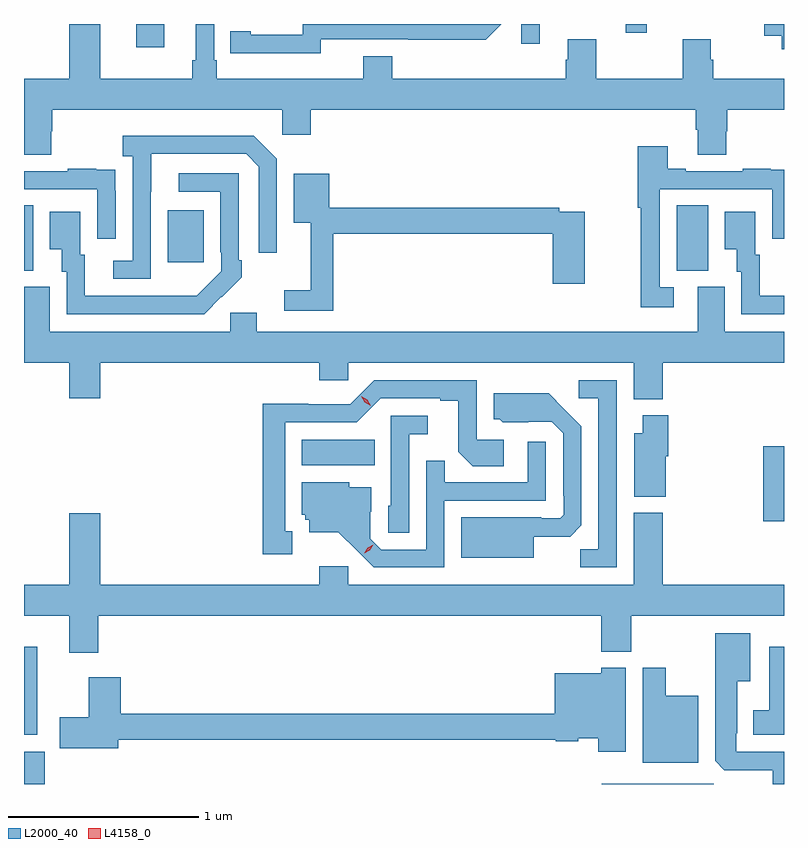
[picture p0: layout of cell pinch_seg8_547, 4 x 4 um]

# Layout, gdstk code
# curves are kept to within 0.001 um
import gdstk
lib = gdstk.Library(unit=1e-6, precision=1e-09)
def R(c, l, rs):  # rectangles x0, y0, x1, y1
    for r in rs: c.add(gdstk.rectangle(r[:2], r[2:], *l))
def P(c, l, *ps):  # polygons
    for p in ps: c.add(gdstk.Polygon(p, *l))
L2000_40 = (2000, 40)
L4158_0 = (4158, 0)

pinch_seg8_547 = lib.new_cell('pinch_seg8_547')
R(pinch_seg8_547, L2000_40, [(140.794,1120.943,140.902,1121.113), (140.794,1121.201,140.863,1121.665), (144.686,1122.327,144.794,1122.721), (142.256,1122.62,142.64,1122.754), (140.794,1123.645,140.842,1123.988), (144.23,1123.645,144.394,1123.988), (141.551,1123.689,141.739,1123.963), (141.386,1124.82,141.532,1124.943), (143.412,1124.838,143.509,1124.943), (143.96,1124.898,144.071,1124.943)])
P(pinch_seg8_547, L2000_40, [(140.937,1124.379),(140.942,1124.379),(140.942,1124.492),(142.152,1124.492),(142.152,1124.361),(142.304,1124.361),(142.304,1124.492),(144.329,1124.492),(144.329,1124.386),(144.341,1124.386),(144.341,1124.254),(144.489,1124.254),(144.489,1124.379),(144.494,1124.379),(144.494,1124.492),(144.794,1124.492),(144.794,1124.656),(144.422,1124.656),(144.422,1124.754),(144.409,1124.754),(144.409,1124.864),(144.262,1124.864),(144.262,1124.656),(143.805,1124.656),(143.805,1124.864),(143.657,1124.864),(143.657,1124.754),(143.645,1124.754),(143.645,1124.656),(142.733,1124.656),(142.733,1124.773),(142.58,1124.773),(142.58,1124.656),(141.809,1124.656),(141.809,1124.752),(141.795,1124.752),(141.795,1124.943),(141.698,1124.943),(141.698,1124.752),(141.679,1124.752),(141.679,1124.656),(141.196,1124.656),(141.196,1124.943),(141.032,1124.943),(141.032,1124.656),(140.794,1124.656),(140.794,1124.254),(140.937,1124.254)],
  [(142.356,1124.862),(143.224,1124.861),(143.307,1124.943),(142.26,1124.943),(142.26,1124.886),(141.988,1124.886),(141.988,1124.906),(141.88,1124.906),(141.88,1124.79),(142.356,1124.789)],
  [(144.794,1124.943),(144.69,1124.943),(144.69,1124.881),(144.783,1124.881),(144.783,1124.811),(144.794,1124.811)],
  [(141.462,1124.059),(141.463,1124.259),(141.963,1124.259),(142.029,1124.193),(142.029,1123.74),(142.125,1123.74),(142.125,1124.235),(142.004,1124.356),(141.315,1124.356),(141.315,1124.246),(141.366,1124.246),(141.366,1123.698),(141.264,1123.698),(141.264,1123.602),(141.462,1123.602)],
  [(144.214,1123.557),(144.141,1123.557),(144.141,1124.073),(144.732,1124.073),(144.732,1123.812),(144.794,1123.812),(144.794,1124.175),(144.725,1124.175),(144.725,1124.182),(144.577,1124.182),(144.577,1124.169),(144.277,1124.169),(144.277,1124.182),(144.181,1124.182),(144.181,1124.299),(144.025,1124.299),(144.025,1123.976),(144.04,1123.976),(144.04,1123.452),(144.214,1123.452)],
  [(141.276,1124.066),(141.275,1124.066),(141.275,1124.175),(141.173,1124.175),(141.173,1124.182),(141.025,1124.182),(141.025,1124.169),(140.794,1124.169),(140.794,1124.073),(141.18,1124.073),(141.18,1123.812),(141.276,1123.812)],
  [(141.833,1123.507),(141.834,1123.506),(141.939,1123.611),(141.939,1123.699),(141.924,1123.699),(141.924,1124.157),(141.609,1124.157),(141.609,1124.061),(141.828,1124.061),(141.828,1123.741),(141.831,1123.741),(141.831,1123.641),(141.703,1123.513),(141.115,1123.512),(141.115,1123.728),(141.091,1123.728),(141.091,1123.954),(140.93,1123.954),(140.93,1123.757),(140.993,1123.757),(140.993,1123.638),(141.018,1123.638),(141.018,1123.416),(141.742,1123.416)],
  [(142.421,1123.84),(143.576,1123.84),(143.576,1123.575),(143.746,1123.575),(143.746,1123.956),(143.612,1123.956),(143.612,1123.976),(142.401,1123.976),(142.401,1124.155),(142.214,1124.155),(142.214,1123.898),(142.304,1123.898),(142.304,1123.543),(142.164,1123.543),(142.164,1123.434),(142.421,1123.434)],
  [(144.794,1123.512),(144.667,1123.512),(144.667,1123.728),(144.643,1123.728),(144.643,1123.954),(144.482,1123.954),(144.482,1123.757),(144.545,1123.757),(144.545,1123.638),(144.57,1123.638),(144.57,1123.416),(144.794,1123.416)],
  [(144.155,1123.16),(144.794,1123.16),(144.794,1123.324),(144.481,1123.324),(144.481,1123.56),(144.341,1123.56),(144.341,1123.324),(142.018,1123.324),(142.018,1123.422),(141.879,1123.422),(141.879,1123.324),(140.929,1123.324),(140.929,1123.56),(140.794,1123.56),(140.794,1123.16),(141.032,1123.16),(141.032,1122.972),(141.196,1122.972),(141.196,1123.16),(142.349,1123.16),(142.349,1123.067),(142.5,1123.067),(142.5,1123.16),(144.002,1123.16),(144.002,1122.968),(144.155,1122.968)],
  [(143.913,1123.068),(143.715,1123.068),(143.715,1122.972),(143.817,1122.972),(143.817,1122.179),(143.722,1122.179),(143.722,1122.084),(143.913,1122.084)],
  [(142.207,1122.273),(142.168,1122.273),(142.168,1122.846),(142.545,1122.846),(142.671,1122.972),(142.985,1122.972),(142.985,1122.96),(143.079,1122.96),(143.079,1122.692),(143.155,1122.616),(143.32,1122.616),(143.32,1122.756),(143.178,1122.756),(143.178,1123.068),(142.638,1123.068),(142.512,1122.942),(142.29,1122.942),(142.29,1122.944),(142.05,1122.944),(142.05,1122.153),(142.207,1122.153)],
  [(143.476,1122.245),(143.668,1122.245),(143.727,1122.304),(143.727,1122.826),(143.555,1123),(143.267,1123),(143.267,1122.864),(143.298,1122.864),(143.314,1122.848),(143.571,1122.849),(143.631,1122.789),(143.631,1122.46),(143.634,1122.46),(143.634,1122.36),(143.616,1122.342),(143.516,1122.342),(143.516,1122.346),(143.096,1122.346),(143.096,1122.134),(143.476,1122.134)],
  [(144.172,1122.669),(144.185,1122.669),(144.185,1122.883),(144.05,1122.883),(144.05,1122.79),(144.005,1122.79),(144.005,1122.455),(144.172,1122.455)],
  [(142.821,1122.785),(142.918,1122.785),(142.918,1122.882),(142.725,1122.882),(142.725,1122.408),(142.71,1122.408),(142.71,1122.265),(142.821,1122.265)],
  [(143.007,1122.435),(143.541,1122.435),(143.541,1122.745),(143.445,1122.745),(143.445,1122.531),(143.009,1122.531),(143.009,1122.644),(142.911,1122.644),(142.911,1122.177),(142.674,1122.177),(142.617,1122.234),(142.617,1122.376),(142.621,1122.376),(142.621,1122.505),(142.506,1122.505),(142.506,1122.532),(142.256,1122.532),(142.256,1122.36),(142.275,1122.36),(142.275,1122.333),(142.295,1122.333),(142.295,1122.269),(142.447,1122.269),(142.634,1122.084),(143.007,1122.084)],
  [(141.185,1121.828),(143.831,1121.828),(143.831,1121.639),(143.991,1121.639),(143.991,1121.828),(144.794,1121.828),(144.794,1121.992),(144.155,1121.992),(144.155,1122.37),(144.002,1122.37),(144.002,1121.992),(142.5,1121.992),(142.5,1122.088),(142.349,1122.088),(142.349,1121.992),(141.196,1121.992),(141.196,1122.367),(141.032,1122.367),(141.032,1121.992),(140.794,1121.992),(140.794,1121.828),(141.032,1121.828),(141.032,1121.634),(141.185,1121.634)],
  [(144.794,1121.112),(144.543,1121.112),(144.543,1121.209),(144.547,1121.209),(144.547,1121.483),(144.616,1121.483),(144.616,1121.737),(144.431,1121.737),(144.431,1121.065),(144.48,1121.016),(144.734,1121.016),(144.734,1120.943),(144.794,1120.943)],
  [(144.794,1121.665),(144.716,1121.665),(144.716,1121.332),(144.632,1121.332),(144.632,1121.201),(144.794,1121.201)],
  [(144.343,1121.407),(144.172,1121.407),(144.172,1121.554),(144.05,1121.554),(144.05,1121.054),(144.343,1121.054)],
  [(143.962,1121.554),(143.832,1121.554),(143.832,1121.527),(143.588,1121.527),(143.588,1121.312),(141.302,1121.312),(141.302,1121.506),(141.134,1121.506),(141.134,1121.295),(140.982,1121.295),(140.982,1121.132),(141.289,1121.132),(141.289,1121.176),(143.592,1121.176),(143.592,1121.168),(143.712,1121.168),(143.712,1121.183),(143.816,1121.183),(143.816,1121.112),(143.962,1121.112)],
  [(144.423,1120.944),(143.835,1120.944),(143.835,1120.943),(144.424,1120.943)])
P(pinch_seg8_547, L4158_0, [(142.584,1122.157),(142.584,1122.157),(142.602,1122.187),(142.632,1122.202),(142.633,1122.202),(142.633,1122.202),(142.615,1122.172),(142.585,1122.157)],
  [(142.618,1122.933),(142.587,1122.952),(142.569,1122.984),(142.569,1122.985),(142.57,1122.985),(142.601,1122.966),(142.619,1122.933),(142.619,1122.933)])

lib.write_gds('pinch_seg8_547.gds')
